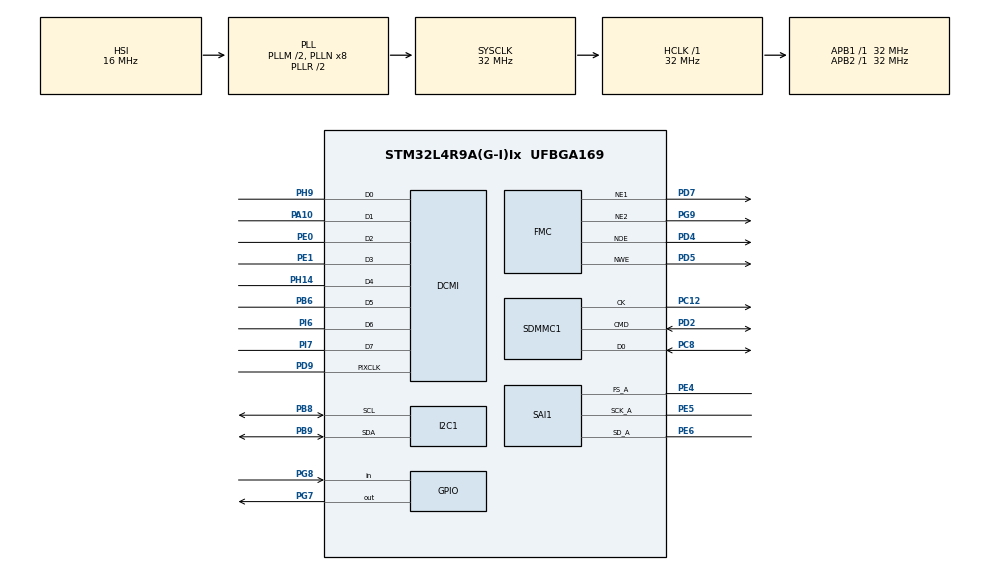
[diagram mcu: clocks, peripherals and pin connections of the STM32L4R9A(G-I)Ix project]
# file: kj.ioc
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DCMI.JPEGMode=DCMI_JPEG_DISABLE
DSIHOST_CKN.Mode=DSIHost_Adapted
DSIHOST_CKN.Signal=DSIHOST_CKN
DSIHOST_CKP.Mode=DSIHost_Adapted
DSIHOST_CKP.Signal=DSIHOST_CKP
DSIHOST_D0N.Mode=DSIHost_Adapted
DSIHOST_D0N.Signal=DSIHOST_D0N
DSIHOST_D0P.Mode=DSIHost_Adapted
DSIHOST_D0P.Signal=DSIHOST_D0P
DSIHOST_D1N.Mode=DSIHost_Adapted
DSIHOST_D1N.Signal=DSIHOST_D1N
DSIHOST_D1P.Mode=DSIHost_Adapted
DSIHOST_D1P.Signal=DSIHOST_D1P
I2C1.Timing=0x00707CBB
LTDC.ActiveH=390
LTDC.ActiveW=390
LTDC.Blue=128
LTDC.Green=128
LTDC.Red=128
Mcu.Family=STM32L4
Mcu.Name=STM32L4R9A(G-I)Ix
Mcu.Package=UFBGA169
NVIC.PriorityGroup=NVIC_PRIORITYGROUP_4
PA10.Mode=Slave_8_bits_Embedded_Synchro
PA10.Signal=DCMI_D1
PB6.Mode=Slave_8_bits_Embedded_Synchro
PB6.Signal=DCMI_D5
PB8.Mode=I2C
PB8.Signal=I2C1_SCL
PB9.Mode=I2C
PB9.Signal=I2C1_SDA
PC12.Mode=SD_1_bit
PC12.Signal=SDMMC1_CK
PC8.Mode=SD_1_bit
PC8.Signal=SDMMC1_D0
PD2.Mode=SD_1_bit
PD2.Signal=SDMMC1_CMD
PD4.Signal=FMC_NOE
PD5.Signal=FMC_NWE
PD7.Mode=NorPsramChipSelect1_1
PD7.Signal=FMC_NE1
PD9.Mode=Slave_8_bits_Embedded_Synchro
PD9.Signal=DCMI_PIXCLK
PE0.Mode=Slave_8_bits_Embedded_Synchro
PE0.Signal=DCMI_D2
PE1.Mode=Slave_8_bits_Embedded_Synchro
PE1.Signal=DCMI_D3
PE4.Mode=SAI_A_Master
PE4.Signal=SAI1_FS_A
PE5.Mode=SAI_A_Master
PE5.Signal=SAI1_SCK_A
PE6.Mode=SAI_A_Master
PE6.Signal=SAI1_SD_A
PG7.Signal=GPIO_Output
PG8.Signal=GPIO_Input
PG9.Mode=NorPsramChipSelect2_4
PG9.Signal=FMC_NE2
PH0-OSC_IN\ (PH0).Mode=HSE-External-Oscillator
PH0-OSC_IN\ (PH0).Signal=RCC_OSC_IN
PH1-OSC_OUT\ (PH1).Mode=HSE-External-Oscillator
PH1-OSC_OUT\ (PH1).Signal=RCC_OSC_OUT
PH14.Mode=Slave_8_bits_Embedded_Synchro
PH14.Signal=DCMI_D4
PH9.Mode=Slave_8_bits_Embedded_Synchro
PH9.Signal=DCMI_D0
PI6.Mode=Slave_8_bits_Embedded_Synchro
PI6.Signal=DCMI_D6
PI7.Mode=Slave_8_bits_Embedded_Synchro
PI7.Signal=DCMI_D7
ProjectManager.HeapSize=0x200
ProjectManager.StackSize=0x400
ProjectManager.TargetToolchain=EWARM V8
RCC.ADCFreq_Value=96000000
RCC.AHBFreq_Value=32000000
RCC.APB1Freq_Value=32000000
RCC.APB1TimFreq_Value=32000000
RCC.APB2Freq_Value=32000000
RCC.APB2TimFreq_Value=32000000
RCC.CortexFreq_Value=32000000
RCC.HCLKFreq_Value=32000000
RCC.HSE_VALUE=8000000
RCC.HSI48_VALUE=48000000
RCC.HSI_VALUE=16000000
RCC.LSE_VALUE=32768
RCC.MSI_VALUE=4000000
RCC.PLLDSINDIV=32
RCC.PLLDSIODF=DSI_PLL_OUT_DIV2
RCC.PLLM1=2
RCC.PLLM2=2
RCC.PLLM3=2
RCC.PLLSAI1N=24
RCC.PLLSAI1P=RCC_PLLP_DIV4
RCC.PLLSourceVirtual=RCC_PLLSOURCE_HSI
RCC.SYSCLKFreq_VALUE=32000000
RCC.SYSCLKSource=RCC_SYSCLKSOURCE_PLLCLK
RCC.USBFreq_Value=96000000
RCC.VCOOutputFreq_Value=64000000
SAI1.ErrorAudioFreq-SAI_A_Master=-2.34 %
SAI1.Instance-SAI_A_Master=SAI$Index_Block_A
SAI1.MClockEnable-SAI_A_Master=SAI_MASTERCLOCK_DISABLE
SAI1.RealAudioFreq-SAI_A_Master=187.5 KHz
SAI1.VirtualMode-SAI_A_Master=VM_MASTER
SH.FMC_NOE.0=FMC_NOE,Psram4
SH.FMC_NWE.0=FMC_NWE,Psram4
VP_DFSDM1_VS_IN0.Mode=Parallel_Input_ch0
VP_DMA2D_VS_DMA2D.Mode=DMA2D_Activate
VP_GFXMMU_VS_GFXMMU.Mode=GFXMMU_Activate
VP_LTDC_DSIMode.Mode=RGB888
VP_OCTOSPI1_VS_dual.Mode=single_mode
VP_RTC_VS_RTC_Activate.Mode=RTC_Enabled
board=32L4R9IDISCOVERY

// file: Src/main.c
/* USER CODE BEGIN Header */
/**
  ******************************************************************************
  * @file           : main.c
  * @brief          : Main program body
  ******************************************************************************
  * @attention
  *
  * <h2><center>&copy; Copyright (c) 2019 STMicroelectronics.
  * All rights reserved.</center></h2>
  *
  * This software component is licensed by ST under BSD 3-Clause license,
  * the "License"; You may not use this file except in compliance with the
  * License. You may obtain a copy of the License at:
  *                        opensource.org/licenses/BSD-3-Clause
  *
  ******************************************************************************
  */
/* USER CODE END Header */

#include "main.h"
#include "gfxmmu_lut.h"

DCMI_HandleTypeDef hdcmi;

DFSDM_Channel_HandleTypeDef hdfsdm1_channel0;

DMA2D_HandleTypeDef hdma2d;

DSI_HandleTypeDef hdsi;

GFXMMU_HandleTypeDef hgfxmmu;

I2C_HandleTypeDef hi2c1;

LTDC_HandleTypeDef hltdc;

OSPI_HandleTypeDef hospi1;

RTC_HandleTypeDef hrtc;

SAI_HandleTypeDef hsai_BlockA1;

SD_HandleTypeDef hsd1;

SRAM_HandleTypeDef hsram4;

void SystemClock_Config(void);
static void MX_GPIO_Init(void);
static void MX_LTDC_Init(void);
static void MX_RTC_Init(void);
static void MX_DSIHOST_DSI_Init(void);
static void MX_I2C1_Init(void);
static void MX_SDMMC1_SD_Init(void);
static void MX_OCTOSPI1_Init(void);
static void MX_DCMI_Init(void);
static void MX_DFSDM1_Init(void);
static void MX_FMC_Init(void);
static void MX_DMA2D_Init(void);
static void MX_GFXMMU_Init(void);
static void MX_SAI1_Init(void);
/* USER CODE BEGIN PFP */
#define GFXMMU_LCD_SIZE 390
uint8_t image[4*390*390];
static void myMX_LTDC_Init(void);
/* USER CODE END PFP */

int main(void)
{

  /* MCU Configuration--------------------------------------------------------*/

  /* Reset of all peripherals, Initializes the Flash interface and the Systick. */
  HAL_Init();

  /* Configure the system clock */
  SystemClock_Config();

  /* Initialize all configured peripherals */
  MX_GPIO_Init();
  MX_LTDC_Init();
  MX_RTC_Init();
  MX_DSIHOST_DSI_Init();
  MX_I2C1_Init();
  MX_SDMMC1_SD_Init();
  MX_OCTOSPI1_Init();
  MX_DCMI_Init();
  MX_DFSDM1_Init();
  MX_FMC_Init();
  MX_DMA2D_Init();
  MX_GFXMMU_Init();
  MX_SAI1_Init();

  /* Infinite loop */
  while (1)
  {

  }
}

void SystemClock_Config(void)
{
  RCC_OscInitTypeDef RCC_OscInitStruct = {0};
  RCC_ClkInitTypeDef RCC_ClkInitStruct = {0};
  RCC_PeriphCLKInitTypeDef PeriphClkInit = {0};

  /** Configure the main internal regulator output voltage
  */
  if (HAL_PWREx_ControlVoltageScaling(PWR_REGULATOR_VOLTAGE_SCALE1) != HAL_OK)
  {
    Error_Handler();
  }
  /** Initializes the CPU, AHB and APB busses clocks
  */
  RCC_OscInitStruct.OscillatorType = RCC_OSCILLATORTYPE_HSI|RCC_OSCILLATORTYPE_LSI
                              |RCC_OSCILLATORTYPE_HSE;
  RCC_OscInitStruct.HSEState = RCC_HSE_ON;
  RCC_OscInitStruct.HSIState = RCC_HSI_ON;
  RCC_OscInitStruct.HSICalibrationValue = RCC_HSICALIBRATION_DEFAULT;
  RCC_OscInitStruct.LSIState = RCC_LSI_ON;
  RCC_OscInitStruct.PLL.PLLState = RCC_PLL_ON;
  RCC_OscInitStruct.PLL.PLLSource = RCC_PLLSOURCE_HSI;
  RCC_OscInitStruct.PLL.PLLM = 2;
  RCC_OscInitStruct.PLL.PLLN = 8;
  RCC_OscInitStruct.PLL.PLLP = RCC_PLLP_DIV2;
  RCC_OscInitStruct.PLL.PLLQ = RCC_PLLQ_DIV2;
  RCC_OscInitStruct.PLL.PLLR = RCC_PLLR_DIV2;
  if (HAL_RCC_OscConfig(&RCC_OscInitStruct) != HAL_OK)
  {
    Error_Handler();
  }
  /** Initializes the CPU, AHB and APB busses clocks
  */
  RCC_ClkInitStruct.ClockType = RCC_CLOCKTYPE_HCLK|RCC_CLOCKTYPE_SYSCLK
                              |RCC_CLOCKTYPE_PCLK1|RCC_CLOCKTYPE_PCLK2;
  RCC_ClkInitStruct.SYSCLKSource = RCC_SYSCLKSOURCE_PLLCLK;
  RCC_ClkInitStruct.AHBCLKDivider = RCC_SYSCLK_DIV1;
  RCC_ClkInitStruct.APB1CLKDivider = RCC_HCLK_DIV1;
  RCC_ClkInitStruct.APB2CLKDivider = RCC_HCLK_DIV1;

  if (HAL_RCC_ClockConfig(&RCC_ClkInitStruct, FLASH_LATENCY_1) != HAL_OK)
  {
    Error_Handler();
  }
  PeriphClkInit.PeriphClockSelection = RCC_PERIPHCLK_RTC|RCC_PERIPHCLK_SAI1
                              |RCC_PERIPHCLK_I2C1|RCC_PERIPHCLK_DFSDM1
                              |RCC_PERIPHCLK_SDMMC1|RCC_PERIPHCLK_OSPI
                              |RCC_PERIPHCLK_DSI|RCC_PERIPHCLK_LTDC;
  PeriphClkInit.I2c1ClockSelection = RCC_I2C1CLKSOURCE_PCLK1;
  PeriphClkInit.Sai1ClockSelection = RCC_SAI1CLKSOURCE_PLLSAI1;
  PeriphClkInit.Dfsdm1ClockSelection = RCC_DFSDM1CLKSOURCE_PCLK;
  PeriphClkInit.DsiClockSelection = RCC_DSICLKSOURCE_DSIPHY;
  PeriphClkInit.OspiClockSelection = RCC_OSPICLKSOURCE_SYSCLK;
  PeriphClkInit.RTCClockSelection = RCC_RTCCLKSOURCE_LSI;
  PeriphClkInit.Sdmmc1ClockSelection = RCC_SDMMC1CLKSOURCE_PLLP;
  PeriphClkInit.LtdcClockSelection = RCC_LTDCCLKSOURCE_PLLSAI2_DIV2;
  PeriphClkInit.PLLSAI2.PLLSAI2Source = RCC_PLLSOURCE_HSI;
  PeriphClkInit.PLLSAI2.PLLSAI2M = 2;
  PeriphClkInit.PLLSAI2.PLLSAI2N = 8;
  PeriphClkInit.PLLSAI2.PLLSAI2P = RCC_PLLP_DIV2;
  PeriphClkInit.PLLSAI2.PLLSAI2R = RCC_PLLR_DIV2;
  PeriphClkInit.PLLSAI2.PLLSAI2Q = RCC_PLLQ_DIV2;
  PeriphClkInit.PLLSAI2.PLLSAI2ClockOut = RCC_PLLSAI2_LTDCCLK;
  PeriphClkInit.PLLSAI1.PLLSAI1Source = RCC_PLLSOURCE_HSI;
  PeriphClkInit.PLLSAI1.PLLSAI1M = 2;
  PeriphClkInit.PLLSAI1.PLLSAI1N = 24;
  PeriphClkInit.PLLSAI1.PLLSAI1P = RCC_PLLP_DIV4;
  PeriphClkInit.PLLSAI1.PLLSAI1Q = RCC_PLLQ_DIV2;
  PeriphClkInit.PLLSAI1.PLLSAI1R = RCC_PLLR_DIV2;
  PeriphClkInit.PLLSAI1.PLLSAI1ClockOut = RCC_PLLSAI1_SAI1CLK;
  if (HAL_RCCEx_PeriphCLKConfig(&PeriphClkInit) != HAL_OK)
  {
    Error_Handler();
  }
}

static void MX_DCMI_Init(void)
{

  hdcmi.Instance = DCMI;
  hdcmi.Init.SynchroMode = DCMI_SYNCHRO_EMBEDDED;
  hdcmi.Init.PCKPolarity = DCMI_PCKPOLARITY_FALLING;
  hdcmi.Init.CaptureRate = DCMI_CR_ALL_FRAME;
  hdcmi.Init.ExtendedDataMode = DCMI_EXTEND_DATA_8B;
  hdcmi.Init.SynchroCode.FrameEndCode = 0;
  hdcmi.Init.SynchroCode.FrameStartCode = 0;
  hdcmi.Init.SynchroCode.LineStartCode = 0;
  hdcmi.Init.SynchroCode.LineEndCode = 0;
  hdcmi.Init.JPEGMode = DCMI_JPEG_DISABLE;
  hdcmi.Init.ByteSelectMode = DCMI_BSM_ALL;
  hdcmi.Init.ByteSelectStart = DCMI_OEBS_ODD;
  hdcmi.Init.LineSelectMode = DCMI_LSM_ALL;
  hdcmi.Init.LineSelectStart = DCMI_OELS_ODD;
  if (HAL_DCMI_Init(&hdcmi) != HAL_OK)
  {
    Error_Handler();
  }

}

static void MX_DFSDM1_Init(void)
{

  hdfsdm1_channel0.Instance = DFSDM1_Channel0;
  hdfsdm1_channel0.Init.OutputClock.Activation = DISABLE;
  hdfsdm1_channel0.Init.OutputClock.Selection = DFSDM_CHANNEL_OUTPUT_CLOCK_SYSTEM;
  hdfsdm1_channel0.Init.OutputClock.Divider = 2;
  hdfsdm1_channel0.Init.Input.Multiplexer = DFSDM_CHANNEL_INTERNAL_REGISTER;
  hdfsdm1_channel0.Init.Input.DataPacking = DFSDM_CHANNEL_STANDARD_MODE;
  hdfsdm1_channel0.Init.Input.Pins = DFSDM_CHANNEL_SAME_CHANNEL_PINS;
  hdfsdm1_channel0.Init.SerialInterface.Type = DFSDM_CHANNEL_SPI_RISING;
  hdfsdm1_channel0.Init.SerialInterface.SpiClock = DFSDM_CHANNEL_SPI_CLOCK_EXTERNAL;
  hdfsdm1_channel0.Init.Awd.FilterOrder = DFSDM_CHANNEL_FASTSINC_ORDER;
  hdfsdm1_channel0.Init.Awd.Oversampling = 1;
  hdfsdm1_channel0.Init.Offset = 0x00;
  hdfsdm1_channel0.Init.RightBitShift = 0x00;
  if (HAL_DFSDM_ChannelInit(&hdfsdm1_channel0) != HAL_OK)
  {
    Error_Handler();
  }

}

static void MX_DMA2D_Init(void)
{

  hdma2d.Instance = DMA2D;
  hdma2d.Init.Mode = DMA2D_M2M;
  hdma2d.Init.ColorMode = DMA2D_OUTPUT_ARGB8888;
  hdma2d.Init.OutputOffset = 0;
  hdma2d.Init.BytesSwap = DMA2D_BYTES_REGULAR;
  hdma2d.Init.LineOffsetMode = DMA2D_LOM_PIXELS;
  hdma2d.LayerCfg[1].InputOffset = 0;
  hdma2d.LayerCfg[1].InputColorMode = DMA2D_INPUT_ARGB8888;
  hdma2d.LayerCfg[1].AlphaMode = DMA2D_NO_MODIF_ALPHA;
  hdma2d.LayerCfg[1].InputAlpha = 0;
  hdma2d.LayerCfg[1].AlphaInverted = DMA2D_REGULAR_ALPHA;
  hdma2d.LayerCfg[1].RedBlueSwap = DMA2D_RB_REGULAR;
  if (HAL_DMA2D_Init(&hdma2d) != HAL_OK)
  {
    Error_Handler();
  }
  if (HAL_DMA2D_ConfigLayer(&hdma2d, 1) != HAL_OK)
  {
    Error_Handler();
  }

}

static void MX_DSIHOST_DSI_Init(void)
{

  DSI_PLLInitTypeDef PLLInit = {0};
  DSI_HOST_TimeoutTypeDef HostTimeouts = {0};
  DSI_PHY_TimerTypeDef PhyTimings = {0};
  DSI_LPCmdTypeDef LPCmd = {0};
  DSI_CmdCfgTypeDef CmdCfg = {0};

  hdsi.Instance = DSI;
  hdsi.Init.AutomaticClockLaneControl = DSI_AUTO_CLK_LANE_CTRL_DISABLE;
  hdsi.Init.TXEscapeCkdiv = 4;
  hdsi.Init.NumberOfLanes = DSI_ONE_DATA_LANE;
  PLLInit.PLLNDIV = 32;
  PLLInit.PLLIDF = DSI_PLL_IN_DIV1;
  PLLInit.PLLODF = DSI_PLL_OUT_DIV2;
  if (HAL_DSI_Init(&hdsi, &PLLInit) != HAL_OK)
  {
    Error_Handler();
  }
  HostTimeouts.TimeoutCkdiv = 1;
  HostTimeouts.HighSpeedTransmissionTimeout = 0;
  HostTimeouts.LowPowerReceptionTimeout = 0;
  HostTimeouts.HighSpeedReadTimeout = 0;
  HostTimeouts.LowPowerReadTimeout = 0;
  HostTimeouts.HighSpeedWriteTimeout = 0;
  HostTimeouts.HighSpeedWritePrespMode = DSI_HS_PM_DISABLE;
  HostTimeouts.LowPowerWriteTimeout = 0;
  HostTimeouts.BTATimeout = 0;
  if (HAL_DSI_ConfigHostTimeouts(&hdsi, &HostTimeouts) != HAL_OK)
  {
    Error_Handler();
  }
  PhyTimings.ClockLaneHS2LPTime = 16;
  PhyTimings.ClockLaneLP2HSTime = 10;
  PhyTimings.DataLaneHS2LPTime = 8;
  PhyTimings.DataLaneLP2HSTime = 6;
  PhyTimings.DataLaneMaxReadTime = 0;
  PhyTimings.StopWaitTime = 0;
  if (HAL_DSI_ConfigPhyTimer(&hdsi, &PhyTimings) != HAL_OK)
  {
    Error_Handler();
  }
  if (HAL_DSI_ConfigFlowControl(&hdsi, DSI_FLOW_CONTROL_BTA) != HAL_OK)
  {
    Error_Handler();
  }
  if (HAL_DSI_SetLowPowerRXFilter(&hdsi, 10000) != HAL_OK)
  {
    Error_Handler();
  }
  if (HAL_DSI_ConfigErrorMonitor(&hdsi, HAL_DSI_ERROR_NONE) != HAL_OK)
  {
    Error_Handler();
  }
  LPCmd.LPGenShortWriteNoP = DSI_LP_GSW0P_DISABLE;
  LPCmd.LPGenShortWriteOneP = DSI_LP_GSW1P_DISABLE;
  LPCmd.LPGenShortWriteTwoP = DSI_LP_GSW2P_DISABLE;
  LPCmd.LPGenShortReadNoP = DSI_LP_GSR0P_DISABLE;
  LPCmd.LPGenShortReadOneP = DSI_LP_GSR1P_DISABLE;
  LPCmd.LPGenShortReadTwoP = DSI_LP_GSR2P_DISABLE;
  LPCmd.LPGenLongWrite = DSI_LP_GLW_DISABLE;
  LPCmd.LPDcsShortWriteNoP = DSI_LP_DSW0P_DISABLE;
  LPCmd.LPDcsShortWriteOneP = DSI_LP_DSW1P_DISABLE;
  LPCmd.LPDcsShortReadNoP = DSI_LP_DSR0P_DISABLE;
  LPCmd.LPDcsLongWrite = DSI_LP_DLW_DISABLE;
  LPCmd.LPMaxReadPacket = DSI_LP_MRDP_DISABLE;
  LPCmd.AcknowledgeRequest = DSI_ACKNOWLEDGE_DISABLE;
  if (HAL_DSI_ConfigCommand(&hdsi, &LPCmd) != HAL_OK)
  {
    Error_Handler();
  }
  CmdCfg.VirtualChannelID = 0;
  CmdCfg.ColorCoding = DSI_RGB888;
  CmdCfg.CommandSize = 390;
  CmdCfg.TearingEffectSource = DSI_TE_DSILINK;
  CmdCfg.TearingEffectPolarity = DSI_TE_RISING_EDGE;
  CmdCfg.HSPolarity = DSI_HSYNC_ACTIVE_LOW;
  CmdCfg.VSPolarity = DSI_VSYNC_ACTIVE_LOW;
  CmdCfg.DEPolarity = DSI_DATA_ENABLE_ACTIVE_HIGH;
  CmdCfg.VSyncPol = DSI_VSYNC_FALLING;
  CmdCfg.AutomaticRefresh = DSI_AR_ENABLE;
  CmdCfg.TEAcknowledgeRequest = DSI_TE_ACKNOWLEDGE_DISABLE;
  if (HAL_DSI_ConfigAdaptedCommandMode(&hdsi, &CmdCfg) != HAL_OK)
  {
    Error_Handler();
  }
  if (HAL_DSI_SetGenericVCID(&hdsi, 0) != HAL_OK)
  {
    Error_Handler();
  }

}

static void MX_GFXMMU_Init(void)
{

  hgfxmmu.Instance = GFXMMU;
  hgfxmmu.Init.BlocksPerLine = GFXMMU_192BLOCKS;
  hgfxmmu.Init.DefaultValue = 0;
  hgfxmmu.Init.Buffers.Buf0Address = 0;
  hgfxmmu.Init.Buffers.Buf1Address = 0;
  hgfxmmu.Init.Buffers.Buf2Address = 0;
  hgfxmmu.Init.Buffers.Buf3Address = 0;
  hgfxmmu.Init.Interrupts.Activation = ENABLE;
  if (HAL_GFXMMU_Init(&hgfxmmu) != HAL_OK)
  {
    Error_Handler();
  }
  if (HAL_GFXMMU_ConfigLut(&hgfxmmu, GFXMMU_LUT_FIRST, GFXMMU_LUT_SIZE, (uint32_t)gfxmmu_lut_config) != HAL_OK)
  {
    Error_Handler();
  }

}

static void MX_I2C1_Init(void)
{

  hi2c1.Instance = I2C1;
  hi2c1.Init.Timing = 0x00707CBB;
  hi2c1.Init.OwnAddress1 = 0;
  hi2c1.Init.AddressingMode = I2C_ADDRESSINGMODE_7BIT;
  hi2c1.Init.DualAddressMode = I2C_DUALADDRESS_DISABLE;
  hi2c1.Init.OwnAddress2 = 0;
  hi2c1.Init.OwnAddress2Masks = I2C_OA2_NOMASK;
  hi2c1.Init.GeneralCallMode = I2C_GENERALCALL_DISABLE;
  hi2c1.Init.NoStretchMode = I2C_NOSTRETCH_DISABLE;
  if (HAL_I2C_Init(&hi2c1) != HAL_OK)
  {
    Error_Handler();
  }
  /** Configure Analogue filter
  */
  if (HAL_I2CEx_ConfigAnalogFilter(&hi2c1, I2C_ANALOGFILTER_ENABLE) != HAL_OK)
  {
    Error_Handler();
  }
  /** Configure Digital filter
  */
  if (HAL_I2CEx_ConfigDigitalFilter(&hi2c1, 0) != HAL_OK)
  {
    Error_Handler();
  }

}

static void MX_LTDC_Init(void)
{

  LTDC_LayerCfgTypeDef pLayerCfg = {0};
  LTDC_LayerCfgTypeDef pLayerCfg1 = {0};

  hltdc.Instance = LTDC;
  hltdc.Init.HSPolarity = LTDC_HSPOLARITY_AL;
  hltdc.Init.VSPolarity = LTDC_VSPOLARITY_AL;
  hltdc.Init.DEPolarity = LTDC_DEPOLARITY_AL;
  hltdc.Init.PCPolarity = LTDC_PCPOLARITY_IPC;
  hltdc.Init.HorizontalSync = 7;
  hltdc.Init.VerticalSync = 3;
  hltdc.Init.AccumulatedHBP = 14;
  hltdc.Init.AccumulatedVBP = 5;
  hltdc.Init.AccumulatedActiveW = 404;
  hltdc.Init.AccumulatedActiveH = 395;
  hltdc.Init.TotalWidth = 410;
  hltdc.Init.TotalHeigh = 397;
  hltdc.Init.Backcolor.Blue = 128;
  hltdc.Init.Backcolor.Green = 128;
  hltdc.Init.Backcolor.Red = 128;
  if (HAL_LTDC_Init(&hltdc) != HAL_OK)
  {
    Error_Handler();
  }
  pLayerCfg.WindowX0 = 0;
  pLayerCfg.WindowX1 = 0;
  pLayerCfg.WindowY0 = 0;
  pLayerCfg.WindowY1 = 0;
  pLayerCfg.PixelFormat = LTDC_PIXEL_FORMAT_ARGB8888;
  pLayerCfg.Alpha = 0;
  pLayerCfg.Alpha0 = 0;
  pLayerCfg.BlendingFactor1 = LTDC_BLENDING_FACTOR1_CA;
  pLayerCfg.BlendingFactor2 = LTDC_BLENDING_FACTOR2_CA;
  pLayerCfg.FBStartAdress = GFXMMU_VIRTUAL_BUFFER0_BASE;
  pLayerCfg.ImageWidth = 0;
  pLayerCfg.ImageHeight = 0;
  pLayerCfg.Backcolor.Blue = 0;
  pLayerCfg.Backcolor.Green = 0;
  pLayerCfg.Backcolor.Red = 0;
  if (HAL_LTDC_ConfigLayer(&hltdc, &pLayerCfg, 0) != HAL_OK)
  {
    Error_Handler();
  }
  pLayerCfg1.WindowX0 = 0;
  pLayerCfg1.WindowX1 = 0;
  pLayerCfg1.WindowY0 = 0;
  pLayerCfg1.WindowY1 = 0;
  pLayerCfg1.PixelFormat = LTDC_PIXEL_FORMAT_ARGB8888;
  pLayerCfg1.Alpha = 0;
  pLayerCfg1.Alpha0 = 0;
  pLayerCfg1.BlendingFactor1 = LTDC_BLENDING_FACTOR1_CA;
  pLayerCfg1.BlendingFactor2 = LTDC_BLENDING_FACTOR2_CA;
  pLayerCfg1.FBStartAdress = GFXMMU_VIRTUAL_BUFFER0_BASE;
  pLayerCfg1.ImageWidth = 0;
  pLayerCfg1.ImageHeight = 0;
  pLayerCfg1.Backcolor.Blue = 0;
  pLayerCfg1.Backcolor.Green = 0;
  pLayerCfg1.Backcolor.Red = 0;
  if (HAL_LTDC_ConfigLayer(&hltdc, &pLayerCfg1, 1) != HAL_OK)
  {
    Error_Handler();
  }
  if (HAL_LTDC_SetPitch(&hltdc, 768, 0) != HAL_OK)
  {
    Error_Handler();
  }
  if (HAL_LTDC_SetPitch(&hltdc, 768, 1) != HAL_OK)
  {
    Error_Handler();
  }

}

static void MX_OCTOSPI1_Init(void)
{

  OSPI_MemoryMappedTypeDef sMemMappedCfg = {0};

  /* OCTOSPI1 parameter configuration*/
  hospi1.Instance = OCTOSPI1;
  hospi1.Init.FifoThreshold = 1;
  hospi1.Init.DualQuad = HAL_OSPI_DUALQUAD_DISABLE;
  hospi1.Init.MemoryType = HAL_OSPI_MEMTYPE_MICRON;
  hospi1.Init.DeviceSize = 1;
  hospi1.Init.ChipSelectHighTime = 1;
  hospi1.Init.FreeRunningClock = HAL_OSPI_FREERUNCLK_DISABLE;
  hospi1.Init.ClockMode = HAL_OSPI_CLOCK_MODE_0;
  hospi1.Init.WrapSize = HAL_OSPI_WRAP_NOT_SUPPORTED;
  hospi1.Init.ClockPrescaler = 256;
  hospi1.Init.SampleShifting = HAL_OSPI_SAMPLE_SHIFTING_NONE;
  hospi1.Init.DelayHoldQuarterCycle = HAL_OSPI_DHQC_DISABLE;
  hospi1.Init.ChipSelectBoundary = 1;
  if (HAL_OSPI_Init(&hospi1) != HAL_OK)
  {
    Error_Handler();
  }
  sMemMappedCfg.TimeOutActivation = HAL_OSPI_TIMEOUT_COUNTER_DISABLE;
  sMemMappedCfg.TimeOutPeriod = 1;
  if (HAL_OSPI_MemoryMapped(&hospi1, &sMemMappedCfg) != HAL_OK)
  {
    Error_Handler();
  }

}

static void MX_RTC_Init(void)
{

  /** Initialize RTC Only
  */
  hrtc.Instance = RTC;
  hrtc.Init.HourFormat = RTC_HOURFORMAT_24;
  hrtc.Init.AsynchPrediv = 127;
  hrtc.Init.SynchPrediv = 255;
  hrtc.Init.OutPut = RTC_OUTPUT_DISABLE;
  hrtc.Init.OutPutRemap = RTC_OUTPUT_REMAP_NONE;
  hrtc.Init.OutPutPolarity = RTC_OUTPUT_POLARITY_HIGH;
  hrtc.Init.OutPutType = RTC_OUTPUT_TYPE_OPENDRAIN;
  if (HAL_RTC_Init(&hrtc) != HAL_OK)
  {
    Error_Handler();
  }

}

static void MX_SAI1_Init(void)
{

  hsai_BlockA1.Instance = SAI1_Block_A;
  hsai_BlockA1.Init.Protocol = SAI_FREE_PROTOCOL;
  hsai_BlockA1.Init.AudioMode = SAI_MODEMASTER_TX;
  hsai_BlockA1.Init.DataSize = SAI_DATASIZE_8;
  hsai_BlockA1.Init.FirstBit = SAI_FIRSTBIT_MSB;
  hsai_BlockA1.Init.ClockStrobing = SAI_CLOCKSTROBING_FALLINGEDGE;
  hsai_BlockA1.Init.Synchro = SAI_ASYNCHRONOUS;
  hsai_BlockA1.Init.OutputDrive = SAI_OUTPUTDRIVE_DISABLE;
  hsai_BlockA1.Init.NoDivider = SAI_MASTERDIVIDER_ENABLE;
  hsai_BlockA1.Init.MckOverSampling = SAI_MCK_OVERSAMPLING_DISABLE;
  hsai_BlockA1.Init.FIFOThreshold = SAI_FIFOTHRESHOLD_EMPTY;
  hsai_BlockA1.Init.AudioFrequency = SAI_AUDIO_FREQUENCY_192K;
  hsai_BlockA1.Init.SynchroExt = SAI_SYNCEXT_DISABLE;
  hsai_BlockA1.Init.MonoStereoMode = SAI_STEREOMODE;
  hsai_BlockA1.Init.CompandingMode = SAI_NOCOMPANDING;
  hsai_BlockA1.Init.TriState = SAI_OUTPUT_NOTRELEASED;
  hsai_BlockA1.Init.PdmInit.Activation = DISABLE;
  hsai_BlockA1.Init.PdmInit.MicPairsNbr = 0;
  hsai_BlockA1.Init.PdmInit.ClockEnable = SAI_PDM_CLOCK1_ENABLE;
  hsai_BlockA1.FrameInit.FrameLength = 8;
  hsai_BlockA1.FrameInit.ActiveFrameLength = 1;
  hsai_BlockA1.FrameInit.FSDefinition = SAI_FS_STARTFRAME;
  hsai_BlockA1.FrameInit.FSPolarity = SAI_FS_ACTIVE_LOW;
  hsai_BlockA1.FrameInit.FSOffset = SAI_FS_FIRSTBIT;
  hsai_BlockA1.SlotInit.FirstBitOffset = 0;
  hsai_BlockA1.SlotInit.SlotSize = SAI_SLOTSIZE_DATASIZE;
  hsai_BlockA1.SlotInit.SlotNumber = 1;
  hsai_BlockA1.SlotInit.SlotActive = 0x00000000;
  if (HAL_SAI_Init(&hsai_BlockA1) != HAL_OK)
  {
    Error_Handler();
  }

}

static void MX_SDMMC1_SD_Init(void)
{

  hsd1.Instance = SDMMC1;
  hsd1.Init.ClockEdge = SDMMC_CLOCK_EDGE_RISING;
  hsd1.Init.ClockPowerSave = SDMMC_CLOCK_POWER_SAVE_DISABLE;
  hsd1.Init.BusWide = SDMMC_BUS_WIDE_1B;
  hsd1.Init.HardwareFlowControl = SDMMC_HARDWARE_FLOW_CONTROL_DISABLE;
  hsd1.Init.ClockDiv = 0;
  hsd1.Init.Transceiver = SDMMC_TRANSCEIVER_DISABLE;
  if (HAL_SD_Init(&hsd1) != HAL_OK)
  {
    Error_Handler();
  }

}

/* FMC initialization function */
static void MX_FMC_Init(void)
{
  FMC_NORSRAM_TimingTypeDef Timing;

  /** Perform the SRAM4 memory initialization sequence
  */
  hsram4.Instance = FMC_NORSRAM_DEVICE;
  hsram4.Extended = FMC_NORSRAM_EXTENDED_DEVICE;
  /* hsram4.Init */
  hsram4.Init.NSBank = FMC_NORSRAM_BANK2;
  hsram4.Init.DataAddressMux = FMC_DATA_ADDRESS_MUX_DISABLE;
  hsram4.Init.MemoryType = FMC_MEMORY_TYPE_PSRAM;
  hsram4.Init.MemoryDataWidth = FMC_NORSRAM_MEM_BUS_WIDTH_16;
  hsram4.Init.BurstAccessMode = FMC_BURST_ACCESS_MODE_DISABLE;
  hsram4.Init.WaitSignalPolarity = FMC_WAIT_SIGNAL_POLARITY_LOW;
  hsram4.Init.WaitSignalActive = FMC_WAIT_TIMING_BEFORE_WS;
  hsram4.Init.WriteOperation = FMC_WRITE_OPERATION_DISABLE;
  hsram4.Init.WaitSignal = FMC_WAIT_SIGNAL_DISABLE;
  hsram4.Init.ExtendedMode = FMC_EXTENDED_MODE_DISABLE;
  hsram4.Init.AsynchronousWait = FMC_ASYNCHRONOUS_WAIT_DISABLE;
  hsram4.Init.WriteBurst = FMC_WRITE_BURST_DISABLE;
  hsram4.Init.ContinuousClock = FMC_CONTINUOUS_CLOCK_SYNC_ONLY;
  hsram4.Init.WriteFifo = FMC_WRITE_FIFO_ENABLE;
  hsram4.Init.NBLSetupTime = 0;
  hsram4.Init.PageSize = FMC_PAGE_SIZE_NONE;
  /* Timing */
  Timing.AddressSetupTime = 15;
  Timing.AddressHoldTime = 15;
  Timing.DataSetupTime = 255;
  Timing.DataHoldTime = 0;
  Timing.BusTurnAroundDuration = 15;
  Timing.CLKDivision = 16;
  Timing.DataLatency = 17;
  Timing.AccessMode = FMC_ACCESS_MODE_A;
  /* ExtTiming */

  if (HAL_SRAM_Init(&hsram4, &Timing, NULL) != HAL_OK)
  {
    Error_Handler( );
  }

}

static void MX_GPIO_Init(void)
{
  GPIO_InitTypeDef GPIO_InitStruct = {0};

  /* GPIO Ports Clock Enable */
  __HAL_RCC_GPIOE_CLK_ENABLE();
  __HAL_RCC_GPIOH_CLK_ENABLE();
  __HAL_RCC_GPIOI_CLK_ENABLE();
  __HAL_RCC_GPIOG_CLK_ENABLE();
  HAL_PWREx_EnableVddIO2();
  __HAL_RCC_GPIOB_CLK_ENABLE();
  __HAL_RCC_GPIOD_CLK_ENABLE();
  __HAL_RCC_GPIOA_CLK_ENABLE();
  __HAL_RCC_GPIOC_CLK_ENABLE();

  /*Configure GPIO pin Output Level */
  HAL_GPIO_WritePin(GPIOG, GPIO_PIN_7, GPIO_PIN_RESET);

  /*Configure GPIO pin : PG8 */
  GPIO_InitStruct.Pin = GPIO_PIN_8;
  GPIO_InitStruct.Mode = GPIO_MODE_INPUT;
  GPIO_InitStruct.Pull = GPIO_NOPULL;
  HAL_GPIO_Init(GPIOG, &GPIO_InitStruct);

  /*Configure GPIO pin : PG7 */
  GPIO_InitStruct.Pin = GPIO_PIN_7;
  GPIO_InitStruct.Mode = GPIO_MODE_OUTPUT_PP;
  GPIO_InitStruct.Pull = GPIO_NOPULL;
  GPIO_InitStruct.Speed = GPIO_SPEED_FREQ_LOW;
  HAL_GPIO_Init(GPIOG, &GPIO_InitStruct);

}

/* USER CODE BEGIN 4 */
DSI_HandleTypeDef                    hdsi;

typedef enum
{
   IO_MODE_INPUT = 0,   /* input floating */
   IO_MODE_OUTPUT,      /* output Push Pull */
   IO_MODE_IT_RISING_EDGE,   /* float input - irq detect on rising edge */
   IO_MODE_IT_FALLING_EDGE,  /* float input - irq detect on falling edge */
   IO_MODE_IT_LOW_LEVEL,     /* float input - irq detect on low level */
   IO_MODE_IT_HIGH_LEVEL,    /* float input - irq detect on high level */
   /* following modes only available on MFX*/
   IO_MODE_ANALOG,           /* analog mode */
   IO_MODE_OFF,              /* when pin isn't used*/
   IO_MODE_INPUT_PU,         /* input with internal pull up resistor */
   IO_MODE_INPUT_PD,         /* input with internal pull down resistor */
   IO_MODE_OUTPUT_OD,          /* Open Drain output without internal resistor */
   IO_MODE_OUTPUT_OD_PU,       /* Open Drain output with  internal pullup resistor */
   IO_MODE_OUTPUT_OD_PD,       /* Open Drain output with  internal pulldown resistor */
   IO_MODE_OUTPUT_PP,          /* PushPull output without internal resistor */
   IO_MODE_OUTPUT_PP_PU,       /* PushPull output with  internal pullup resistor */
   IO_MODE_OUTPUT_PP_PD,       /* PushPull output with  internal pulldown resistor */
   IO_MODE_IT_RISING_EDGE_PU,   /* push up resistor input - irq on rising edge  */
   IO_MODE_IT_RISING_EDGE_PD,   /* push dw resistor input - irq on rising edge  */
   IO_MODE_IT_FALLING_EDGE_PU,  /* push up resistor input - irq on falling edge */
   IO_MODE_IT_FALLING_EDGE_PD,  /* push dw resistor input - irq on falling edge */
   IO_MODE_IT_LOW_LEVEL_PU,     /* push up resistor input - irq detect on low level */
   IO_MODE_IT_LOW_LEVEL_PD,     /* push dw resistor input - irq detect on low level */
   IO_MODE_IT_HIGH_LEVEL_PU,    /* push up resistor input - irq detect on high level */
   IO_MODE_IT_HIGH_LEVEL_PD,    /* push dw resistor input - irq detect on high level */

}IO_ModeTypedef;

#define IO_PIN_0                  ((uint32_t)0x00000001)
#define IO_PIN_1                  ((uint32_t)0x00000002)
#define IO_PIN_2                  ((uint32_t)0x00000004)
#define IO_PIN_3                  ((uint32_t)0x00000008)
#define IO_PIN_4                  ((uint32_t)0x00000010)
#define IO_PIN_5                  ((uint32_t)0x00000020)
#define IO_PIN_6                  ((uint32_t)0x00000040)
#define IO_PIN_7                  ((uint32_t)0x00000080)
#define IO_PIN_8                  ((uint32_t)0x00000100)
#define IO_PIN_9                  ((uint32_t)0x00000200)
#define IO_PIN_10                 ((uint32_t)0x00000400)
#define IO_PIN_11                 ((uint32_t)0x00000800)
#define IO_PIN_12                 ((uint32_t)0x00001000)
#define IO_PIN_13                 ((uint32_t)0x00002000)
#define IO_PIN_14                 ((uint32_t)0x00004000)
#define IO_PIN_15                 ((uint32_t)0x00008000)
#define AGPIO_PIN_0               ((uint32_t)0x00010000)
#define AGPIO_PIN_1               ((uint32_t)0x00020000)
#define AGPIO_PIN_2               ((uint32_t)0x00040000)
#define IO_PIN_ALL                ((uint32_t)0x0003FFFF)

static void LCD_PowerOff(void)
{
    BSP_IO_Init();

    /* Activate DSI_RESET */
    BSP_IO_WritePin(IO_PIN_10, GPIO_PIN_RESET);

    /* Wait at least 5 ms */
    HAL_Delay(5);

    /* Set DSI_POWER_ON to analog mode only if psram is not currently used */
#if defined(USE_STM32L4R9I_DISCO_REVA) || defined(USE_STM32L4R9I_DISCO_REVB)
    BSP_IO_ConfigPin(IO_PIN_8, IO_MODE_ANALOG);
#else /* USE_STM32L4R9I_DISCO_REVA || USE_STM32L4R9I_DISCO_REVB */
    /* Disable first DSI_1V8_PWRON then DSI_3V3_PWRON */
    BSP_IO_ConfigPin(AGPIO_PIN_2, IO_MODE_ANALOG);
    BSP_IO_ConfigPin(IO_PIN_8, IO_MODE_ANALOG);
#endif /* USE_STM32L4R9I_DISCO_REVA || USE_STM32L4R9I_DISCO_REVB */
}

volatile int k = 0;

/**
  * @brief  LCD power on
  *         Power on LCD.
  */
static void LCD_PowerOn(void)
{
    BSP_IO_Init();

#if defined(USE_STM32L4R9I_DISCO_REVA) || defined(USE_STM32L4R9I_DISCO_REVB)
    /* Set DSI_POWER_ON to input floating to avoid I2C issue during input PD configuration */
    BSP_IO_ConfigPin(IO_PIN_8, IO_MODE_INPUT);

    /* Configure the GPIO connected to DSI_RESET signal */
    BSP_IO_ConfigPin(IO_PIN_10, IO_MODE_OUTPUT);

    /* Activate DSI_RESET (active low) */
    BSP_IO_WritePin(IO_PIN_10, GPIO_PIN_RESET);

    /* Configure the GPIO connected to DSI_POWER_ON signal as input pull down */
    /* to activate 3V3_LCD. VDD_LCD is also activated if VDD = 3,3V */
    BSP_IO_ConfigPin(IO_PIN_8, IO_MODE_INPUT_PD);

    /* Wait at least 1ms before enabling 1V8_LCD */
    HAL_Delay(1);

    /* Configure the GPIO connected to DSI_POWER_ON signal as output low */
    /* to activate 1V8_LCD. VDD_LCD is also activated if VDD = 1,8V */
    BSP_IO_WritePin(IO_PIN_8, GPIO_PIN_RESET);
    BSP_IO_ConfigPin(IO_PIN_8, IO_MODE_OUTPUT);
#else /* USE_STM32L4R9I_DISCO_REVA || USE_STM32L4R9I_DISCO_REVB */
    /* Configure the GPIO connected to DSI_3V3_POWERON signal as output low */
    /* to activate 3V3_LCD. VDD_LCD is also activated if VDD = 3,3V */
    BSP_IO_WritePin(IO_PIN_8, GPIO_PIN_SET);
    //HAL_Delay(1000);
    BSP_IO_ConfigPin(IO_PIN_8, IO_MODE_OUTPUT);
    //HAL_Delay(1000);
    BSP_IO_WritePin(IO_PIN_8, GPIO_PIN_RESET);

    /* Wait at least 1ms before enabling 1V8_LCD */
    HAL_Delay(1);

    /* Configure the GPIO connected to DSI_1V8_POWERON signal as output low */
    /* to activate 1V8_LCD. VDD_LCD is also activated if VDD = 1,8V */
    BSP_IO_WritePin(AGPIO_PIN_2, GPIO_PIN_SET);
    BSP_IO_ConfigPin(AGPIO_PIN_2, IO_MODE_OUTPUT);
    BSP_IO_WritePin(AGPIO_PIN_2, GPIO_PIN_RESET);
#endif /* USE_STM32L4R9I_DISCO_REVA || USE_STM32L4R9I_DISCO_REVB */

    /* Wait at least 15 ms (minimum reset low width is 10ms and add margin for 1V8_LCD ramp-up) */
    HAL_Delay(15);

#if defined(USE_STM32L4R9I_DISCO_REVA) || defined(USE_STM32L4R9I_DISCO_REVB)
    /* Desactivate DSI_RESET */
    BSP_IO_WritePin(IO_PIN_10, GPIO_PIN_SET);
#else /* USE_STM32L4R9I_DISCO_REVA || USE_STM32L4R9I_DISCO_REVB */
    /* Configure the GPIO connected to DSI_RESET signal */
    BSP_IO_ConfigPin(IO_PIN_10, IO_MODE_OUTPUT);

    /* Desactivate DSI_RESET */
    BSP_IO_WritePin(IO_PIN_10, GPIO_PIN_SET);
#endif /* USE_STM32L4R9I_DISCO_REVA || USE_STM32L4R9I_DISCO_REVB */

    /* Wait reset complete time (maximum time is 5ms when LCD in sleep mode and 120ms when LCD is not in sleep mode) */
    HAL_Delay(120);
}

static void myMX_LTDC_Init(void)
{

    uint8_t ScanLineParams[2];
    uint16_t scanline = (GFXMMU_LCD_SIZE - 10);

    DSI_PLLInitTypeDef      dsiPllInit;
    DSI_PHY_TimerTypeDef    PhyTimings;
    DSI_HOST_TimeoutTypeDef HostTimeouts;
    DSI_LPCmdTypeDef        LPCmd;
    DSI_CmdCfgTypeDef       CmdCfg;
    LTDC_LayerCfgTypeDef    LayerCfg;

    /* Power off then on on LCD */
    LCD_PowerOff();
    LCD_PowerOn();

  LTDC_LayerCfgTypeDef pLayerCfg = {0};
  LTDC_LayerCfgTypeDef pLayerCfg1 = {0};

  /* USER CODE BEGIN LTDC_Init 1 */

  /* USER CODE END LTDC_Init 1 */
  /* LTDC initialization */
     hltdc.Instance = LTDC;
     __HAL_LTDC_RESET_HANDLE_STATE(&hltdc);
     hltdc.Init.HSPolarity = LTDC_HSPOLARITY_AL;
     hltdc.Init.VSPolarity = LTDC_VSPOLARITY_AL;
     hltdc.Init.DEPolarity = LTDC_DEPOLARITY_AL;
     hltdc.Init.PCPolarity = LTDC_PCPOLARITY_IPC;
     hltdc.Init.HorizontalSync = 0;   /* HSYNC width - 1 */
     hltdc.Init.VerticalSync = 0;   /* VSYNC width - 1 */
     hltdc.Init.AccumulatedHBP = 1;   /* HSYNC width + HBP - 1 */
     hltdc.Init.AccumulatedVBP = 1;   /* VSYNC width + VBP - 1 */
     hltdc.Init.AccumulatedActiveW = GFXMMU_LCD_SIZE + 1; /* HSYNC width + HBP + Active width - 1 */
     hltdc.Init.AccumulatedActiveH = GFXMMU_LCD_SIZE + 1; /* VSYNC width + VBP + Active height - 1 */
     hltdc.Init.TotalWidth = GFXMMU_LCD_SIZE + 2; /* HSYNC width + HBP + Active width + HFP - 1 */
     hltdc.Init.TotalHeigh = GFXMMU_LCD_SIZE + 2; /* VSYNC width + VBP + Active height + VFP - 1 */
     hltdc.Init.Backcolor.Red = 0; /* NU default value */
     hltdc.Init.Backcolor.Green = 0; /* NU default value */
     hltdc.Init.Backcolor.Blue = 0; /* NU default value */
     hltdc.Init.Backcolor.Reserved = 0xFF;
     if (HAL_LTDC_Init(&hltdc) != HAL_OK)
     {
         Error_Handler();
     }

     /* LTDC layers configuration */
         pLayerCfg.WindowX0 = 0;
         pLayerCfg.WindowX1 = 0;
         pLayerCfg.WindowY0 = 0;
         pLayerCfg.WindowY1 = 0;
         pLayerCfg.PixelFormat = LTDC_PIXEL_FORMAT_ARGB8888;
         pLayerCfg.Alpha = 0xFF; /* NU default value */
         pLayerCfg.Alpha0 = 0; /* NU default value */
         pLayerCfg.BlendingFactor1 = LTDC_BLENDING_FACTOR1_PAxCA; /* NU default value */
         pLayerCfg.BlendingFactor2 = LTDC_BLENDING_FACTOR2_PAxCA; /* NU default value */
         pLayerCfg.FBStartAdress = (uint32_t)image;
         pLayerCfg.ImageWidth = 390; /* virtual frame buffer contains 768 pixels per line for 32bpp */
         pLayerCfg.ImageHeight = 390;
         pLayerCfg.Backcolor.Red = 0; /* NU default value */
         pLayerCfg.Backcolor.Green = 0; /* NU default value */
         pLayerCfg.Backcolor.Blue = 0; /* NU default value */
         pLayerCfg.Backcolor.Reserved = 0xFF;
         if (HAL_LTDC_ConfigLayer(&hltdc, &pLayerCfg, 0) != HAL_OK)
         {
             Error_Handler();
         }

         /*********************/
         /* DSI CONFIGURATION */
         /*********************/

         /* DSI initialization */
         hdsi.Instance = DSI;
         /* PATCH PNA */
         //  __HAL_DSI_RESET_HANDLE_STATE(&hdsi);
         hdsi.State = HAL_DSI_STATE_RESET;
         /* END PATCH PNA */
         hdsi.Init.AutomaticClockLaneControl = DSI_AUTO_CLK_LANE_CTRL_DISABLE;
         /* We have 1 data lane at 500Mbps => lane byte clock at 500/8 = 62,5 MHZ */
         /* We want TX escape clock at arround 20MHz and under 20MHz so clock division is set to 4 */
         hdsi.Init.TXEscapeCkdiv = 4;
         hdsi.Init.NumberOfLanes = DSI_ONE_DATA_LANE;
         /* We have HSE value at 16 Mhz and we want data lane at 500Mbps */
         dsiPllInit.PLLNDIV = 125;
         dsiPllInit.PLLIDF = DSI_PLL_IN_DIV4;
         dsiPllInit.PLLODF = DSI_PLL_OUT_DIV1;
         if (HAL_DSI_Init(&hdsi, &dsiPllInit) != HAL_OK)
         {
             Error_Handler();
         }

         PhyTimings.ClockLaneHS2LPTime = 33; /* Tclk-post + Tclk-trail + Ths-exit = [(60ns + 52xUI) + (60ns) + (300ns)]/16ns */
         PhyTimings.ClockLaneLP2HSTime = 30; /* Tlpx + (Tclk-prepare + Tclk-zero) + Tclk-pre = [150ns + 300ns + 8xUI]/16ns */
         PhyTimings.DataLaneHS2LPTime = 11; /* Ths-trail + Ths-exit = [(60ns + 4xUI) + 100ns]/16ns */
         PhyTimings.DataLaneLP2HSTime = 21; /* Tlpx + (Ths-prepare + Ths-zero) + Ths-sync = [150ns + (145ns + 10xUI) + 8xUI]/16ns */
         PhyTimings.DataLaneMaxReadTime = 0;
         PhyTimings.StopWaitTime = 7;
         if (HAL_DSI_ConfigPhyTimer(&hdsi, &PhyTimings) != HAL_OK)
         {
             Error_Handler();
         }

         HostTimeouts.TimeoutCkdiv = 1;
         HostTimeouts.HighSpeedTransmissionTimeout = 0;
         HostTimeouts.LowPowerReceptionTimeout = 0;
         HostTimeouts.HighSpeedReadTimeout = 0;
         HostTimeouts.LowPowerReadTimeout = 0;
         HostTimeouts.HighSpeedWriteTimeout = 0;
         HostTimeouts.HighSpeedWritePrespMode = 0;
         HostTimeouts.LowPowerWriteTimeout = 0;
         HostTimeouts.BTATimeout = 0;
         if (HAL_DSI_ConfigHostTimeouts(&hdsi, &HostTimeouts) != HAL_OK)
         {
             Error_Handler();
         }

         LPCmd.LPGenShortWriteNoP = DSI_LP_GSW0P_ENABLE;
         LPCmd.LPGenShortWriteOneP = DSI_LP_GSW1P_ENABLE;
         LPCmd.LPGenShortWriteTwoP = DSI_LP_GSW2P_ENABLE;
         LPCmd.LPGenShortReadNoP = DSI_LP_GSR0P_ENABLE;
         LPCmd.LPGenShortReadOneP = DSI_LP_GSR1P_ENABLE;
         LPCmd.LPGenShortReadTwoP = DSI_LP_GSR2P_ENABLE;
         LPCmd.LPGenLongWrite = DSI_LP_GLW_DISABLE;
         LPCmd.LPDcsShortWriteNoP = DSI_LP_DSW0P_ENABLE;
         LPCmd.LPDcsShortWriteOneP = DSI_LP_DSW1P_ENABLE;
         LPCmd.LPDcsShortReadNoP = DSI_LP_DSR0P_ENABLE;
         LPCmd.LPDcsLongWrite = DSI_LP_DLW_DISABLE;
         LPCmd.LPMaxReadPacket = DSI_LP_MRDP_DISABLE;
         LPCmd.AcknowledgeRequest = DSI_ACKNOWLEDGE_DISABLE;
         if (HAL_DSI_ConfigCommand(&hdsi, &LPCmd) != HAL_OK)
         {
             Error_Handler();
         }

         CmdCfg.VirtualChannelID = 0;
         CmdCfg.ColorCoding = DSI_RGB888;
         CmdCfg.CommandSize = GFXMMU_LCD_SIZE;
         CmdCfg.TearingEffectSource = DSI_TE_EXTERNAL;
         CmdCfg.HSPolarity = DSI_HSYNC_ACTIVE_HIGH;
         CmdCfg.VSPolarity = DSI_VSYNC_ACTIVE_HIGH;
         CmdCfg.AutomaticRefresh = DSI_AR_DISABLE;
         CmdCfg.TearingEffectPolarity = DSI_TE_FALLING_EDGE;
         CmdCfg.DEPolarity = DSI_DATA_ENABLE_ACTIVE_HIGH;
         CmdCfg.VSyncPol = DSI_VSYNC_FALLING;
         CmdCfg.TEAcknowledgeRequest = DSI_TE_ACKNOWLEDGE_ENABLE;
         if (HAL_DSI_ConfigAdaptedCommandMode(&hdsi, &CmdCfg) != HAL_OK)
         {
             Error_Handler();
         }

         //  /* Disable the Tearing Effect interrupt activated by default on previous function */
         //  __HAL_DSI_DISABLE_IT(&hdsi, DSI_IT_TE);

         if (HAL_DSI_ConfigFlowControl(&hdsi, DSI_FLOW_CONTROL_BTA) != HAL_OK)
         {
             Error_Handler();
         }

         /* Enable DSI */
         __HAL_DSI_ENABLE(&hdsi);

         /*************************/
         /* LCD POWER ON SEQUENCE */
         /*************************/
         /* Step 1 */
         /* Go to command 2 */
         HAL_DSI_ShortWrite(&hdsi, 0, DSI_DCS_SHORT_PKT_WRITE_P1, 0xFE, 0x01);
         /* IC Frame rate control, set power, sw mapping, mux swithc timing command */
         HAL_DSI_ShortWrite(&hdsi, 0, DSI_DCS_SHORT_PKT_WRITE_P1, 0x06, 0x62);
         HAL_DSI_ShortWrite(&hdsi, 0, DSI_DCS_SHORT_PKT_WRITE_P1, 0x0E, 0x80);
         HAL_DSI_ShortWrite(&hdsi, 0, DSI_DCS_SHORT_PKT_WRITE_P1, 0x0F, 0x80);
         HAL_DSI_ShortWrite(&hdsi, 0, DSI_DCS_SHORT_PKT_WRITE_P1, 0x10, 0x71);
         HAL_DSI_ShortWrite(&hdsi, 0, DSI_DCS_SHORT_PKT_WRITE_P1, 0x13, 0x81);
         HAL_DSI_ShortWrite(&hdsi, 0, DSI_DCS_SHORT_PKT_WRITE_P1, 0x14, 0x81);
         HAL_DSI_ShortWrite(&hdsi, 0, DSI_DCS_SHORT_PKT_WRITE_P1, 0x15, 0x82);
         HAL_DSI_ShortWrite(&hdsi, 0, DSI_DCS_SHORT_PKT_WRITE_P1, 0x16, 0x82);
         HAL_DSI_ShortWrite(&hdsi, 0, DSI_DCS_SHORT_PKT_WRITE_P1, 0x18, 0x88);
         HAL_DSI_ShortWrite(&hdsi, 0, DSI_DCS_SHORT_PKT_WRITE_P1, 0x19, 0x55);
         HAL_DSI_ShortWrite(&hdsi, 0, DSI_DCS_SHORT_PKT_WRITE_P1, 0x1A, 0x10);
         HAL_DSI_ShortWrite(&hdsi, 0, DSI_DCS_SHORT_PKT_WRITE_P1, 0x1C, 0x99);
         HAL_DSI_ShortWrite(&hdsi, 0, DSI_DCS_SHORT_PKT_WRITE_P1, 0x1D, 0x03);
         HAL_DSI_ShortWrite(&hdsi, 0, DSI_DCS_SHORT_PKT_WRITE_P1, 0x1E, 0x03);
         HAL_DSI_ShortWrite(&hdsi, 0, DSI_DCS_SHORT_PKT_WRITE_P1, 0x1F, 0x03);
         HAL_DSI_ShortWrite(&hdsi, 0, DSI_DCS_SHORT_PKT_WRITE_P1, 0x20, 0x03);
         HAL_DSI_ShortWrite(&hdsi, 0, DSI_DCS_SHORT_PKT_WRITE_P1, 0x25, 0x03);
         HAL_DSI_ShortWrite(&hdsi, 0, DSI_DCS_SHORT_PKT_WRITE_P1, 0x26, 0x8D);
         HAL_DSI_ShortWrite(&hdsi, 0, DSI_DCS_SHORT_PKT_WRITE_P1, 0x2A, 0x03);
         HAL_DSI_ShortWrite(&hdsi, 0, DSI_DCS_SHORT_PKT_WRITE_P1, 0x2B, 0x8D);
         HAL_DSI_ShortWrite(&hdsi, 0, DSI_DCS_SHORT_PKT_WRITE_P1, 0x36, 0x00);
         HAL_DSI_ShortWrite(&hdsi, 0, DSI_DCS_SHORT_PKT_WRITE_P1, 0x37, 0x10);
         HAL_DSI_ShortWrite(&hdsi, 0, DSI_DCS_SHORT_PKT_WRITE_P1, 0x3A, 0x00);
         HAL_DSI_ShortWrite(&hdsi, 0, DSI_DCS_SHORT_PKT_WRITE_P1, 0x3B, 0x00);
         HAL_DSI_ShortWrite(&hdsi, 0, DSI_DCS_SHORT_PKT_WRITE_P1, 0x3D, 0x20);
         HAL_DSI_ShortWrite(&hdsi, 0, DSI_DCS_SHORT_PKT_WRITE_P1, 0x3F, 0x3A);
         HAL_DSI_ShortWrite(&hdsi, 0, DSI_DCS_SHORT_PKT_WRITE_P1, 0x40, 0x30);
         HAL_DSI_ShortWrite(&hdsi, 0, DSI_DCS_SHORT_PKT_WRITE_P1, 0x41, 0x1A);
         HAL_DSI_ShortWrite(&hdsi, 0, DSI_DCS_SHORT_PKT_WRITE_P1, 0x42, 0x33);
         HAL_DSI_ShortWrite(&hdsi, 0, DSI_DCS_SHORT_PKT_WRITE_P1, 0x43, 0x22);
         HAL_DSI_ShortWrite(&hdsi, 0, DSI_DCS_SHORT_PKT_WRITE_P1, 0x44, 0x11);
         HAL_DSI_ShortWrite(&hdsi, 0, DSI_DCS_SHORT_PKT_WRITE_P1, 0x45, 0x66);
         HAL_DSI_ShortWrite(&hdsi, 0, DSI_DCS_SHORT_PKT_WRITE_P1, 0x46, 0x55);
         HAL_DSI_ShortWrite(&hdsi, 0, DSI_DCS_SHORT_PKT_WRITE_P1, 0x47, 0x44);
         HAL_DSI_ShortWrite(&hdsi, 0, DSI_DCS_SHORT_PKT_WRITE_P1, 0x4C, 0x33);
         HAL_DSI_ShortWrite(&hdsi, 0, DSI_DCS_SHORT_PKT_WRITE_P1, 0x4D, 0x22);
         HAL_DSI_ShortWrite(&hdsi, 0, DSI_DCS_SHORT_PKT_WRITE_P1, 0x4E, 0x11);
         HAL_DSI_ShortWrite(&hdsi, 0, DSI_DCS_SHORT_PKT_WRITE_P1, 0x4F, 0x66);
         HAL_DSI_ShortWrite(&hdsi, 0, DSI_DCS_SHORT_PKT_WRITE_P1, 0x50, 0x55);
         HAL_DSI_ShortWrite(&hdsi, 0, DSI_DCS_SHORT_PKT_WRITE_P1, 0x51, 0x44);
         HAL_DSI_ShortWrite(&hdsi, 0, DSI_DCS_SHORT_PKT_WRITE_P1, 0x57, 0x33);
         HAL_DSI_ShortWrite(&hdsi, 0, DSI_DCS_SHORT_PKT_WRITE_P1, 0x6B, 0x1B);
         HAL_DSI_ShortWrite(&hdsi, 0, DSI_DCS_SHORT_PKT_WRITE_P1, 0x70, 0x55);
         HAL_DSI_ShortWrite(&hdsi, 0, DSI_DCS_SHORT_PKT_WRITE_P1, 0x74, 0x0C);

         /* Go to command 3 */
         HAL_DSI_ShortWrite(&hdsi, 0, DSI_DCS_SHORT_PKT_WRITE_P1, 0xFE, 0x02);
         /* Set the VGMP/VGSP coltage control */
         HAL_DSI_ShortWrite(&hdsi, 0, DSI_DCS_SHORT_PKT_WRITE_P1, 0x9B, 0x40);
         HAL_DSI_ShortWrite(&hdsi, 0, DSI_DCS_SHORT_PKT_WRITE_P1, 0x9C, 0x00);
         HAL_DSI_ShortWrite(&hdsi, 0, DSI_DCS_SHORT_PKT_WRITE_P1, 0x9D, 0x20);

         /* Go to command 4 */
         HAL_DSI_ShortWrite(&hdsi, 0, DSI_DCS_SHORT_PKT_WRITE_P1, 0xFE, 0x03);
         /* Set the VGMP/VGSP coltage control */
         HAL_DSI_ShortWrite(&hdsi, 0, DSI_DCS_SHORT_PKT_WRITE_P1, 0x9B, 0x40);
         HAL_DSI_ShortWrite(&hdsi, 0, DSI_DCS_SHORT_PKT_WRITE_P1, 0x9C, 0x00);
         HAL_DSI_ShortWrite(&hdsi, 0, DSI_DCS_SHORT_PKT_WRITE_P1, 0x9D, 0x20);

         /* Go to command 5 */
         HAL_DSI_ShortWrite(&hdsi, 0, DSI_DCS_SHORT_PKT_WRITE_P1, 0xFE, 0x04);
         /* VSR command */
         HAL_DSI_ShortWrite(&hdsi, 0, DSI_DCS_SHORT_PKT_WRITE_P1, 0x5D, 0x10);
         /* VSR1 timing set */
         HAL_DSI_ShortWrite(&hdsi, 0, DSI_DCS_SHORT_PKT_WRITE_P1, 0x00, 0x8D);
         HAL_DSI_ShortWrite(&hdsi, 0, DSI_DCS_SHORT_PKT_WRITE_P1, 0x01, 0x00);
         HAL_DSI_ShortWrite(&hdsi, 0, DSI_DCS_SHORT_PKT_WRITE_P1, 0x02, 0x01);
         HAL_DSI_ShortWrite(&hdsi, 0, DSI_DCS_SHORT_PKT_WRITE_P1, 0x03, 0x01);
         HAL_DSI_ShortWrite(&hdsi, 0, DSI_DCS_SHORT_PKT_WRITE_P1, 0x04, 0x10);
         HAL_DSI_ShortWrite(&hdsi, 0, DSI_DCS_SHORT_PKT_WRITE_P1, 0x05, 0x01);
         HAL_DSI_ShortWrite(&hdsi, 0, DSI_DCS_SHORT_PKT_WRITE_P1, 0x06, 0xA7);
         HAL_DSI_ShortWrite(&hdsi, 0, DSI_DCS_SHORT_PKT_WRITE_P1, 0x07, 0x20);
         HAL_DSI_ShortWrite(&hdsi, 0, DSI_DCS_SHORT_PKT_WRITE_P1, 0x08, 0x00);
         /* VSR2 timing set */
         HAL_DSI_ShortWrite(&hdsi, 0, DSI_DCS_SHORT_PKT_WRITE_P1, 0x09, 0xC2);
         HAL_DSI_ShortWrite(&hdsi, 0, DSI_DCS_SHORT_PKT_WRITE_P1, 0x0A, 0x00);
         HAL_DSI_ShortWrite(&hdsi, 0, DSI_DCS_SHORT_PKT_WRITE_P1, 0x0B, 0x02);
         HAL_DSI_ShortWrite(&hdsi, 0, DSI_DCS_SHORT_PKT_WRITE_P1, 0x0C, 0x01);
         HAL_DSI_ShortWrite(&hdsi, 0, DSI_DCS_SHORT_PKT_WRITE_P1, 0x0D, 0x40);
         HAL_DSI_ShortWrite(&hdsi, 0, DSI_DCS_SHORT_PKT_WRITE_P1, 0x0E, 0x06);
         HAL_DSI_ShortWrite(&hdsi, 0, DSI_DCS_SHORT_PKT_WRITE_P1, 0x0F, 0x01);
         HAL_DSI_ShortWrite(&hdsi, 0, DSI_DCS_SHORT_PKT_WRITE_P1, 0x10, 0xA7);
         HAL_DSI_ShortWrite(&hdsi, 0, DSI_DCS_SHORT_PKT_WRITE_P1, 0x11, 0x00);
         /* VSR3 timing set */
         HAL_DSI_ShortWrite(&hdsi, 0, DSI_DCS_SHORT_PKT_WRITE_P1, 0x12, 0xC2);
         HAL_DSI_ShortWrite(&hdsi, 0, DSI_DCS_SHORT_PKT_WRITE_P1, 0x13, 0x00);
         HAL_DSI_ShortWrite(&hdsi, 0, DSI_DCS_SHORT_PKT_WRITE_P1, 0x14, 0x02);
         HAL_DSI_ShortWrite(&hdsi, 0, DSI_DCS_SHORT_PKT_WRITE_P1, 0x15, 0x01);
         HAL_DSI_ShortWrite(&hdsi, 0, DSI_DCS_SHORT_PKT_WRITE_P1, 0x16, 0x40);
         HAL_DSI_ShortWrite(&hdsi, 0, DSI_DCS_SHORT_PKT_WRITE_P1, 0x17, 0x07);
         HAL_DSI_ShortWrite(&hdsi, 0, DSI_DCS_SHORT_PKT_WRITE_P1, 0x18, 0x01);
         HAL_DSI_ShortWrite(&hdsi, 0, DSI_DCS_SHORT_PKT_WRITE_P1, 0x19, 0xA7);
         HAL_DSI_ShortWrite(&hdsi, 0, DSI_DCS_SHORT_PKT_WRITE_P1, 0x1A, 0x00);
         /* VSR4 timing set */
         HAL_DSI_ShortWrite(&hdsi, 0, DSI_DCS_SHORT_PKT_WRITE_P1, 0x1B, 0x82);
         HAL_DSI_ShortWrite(&hdsi, 0, DSI_DCS_SHORT_PKT_WRITE_P1, 0x1C, 0x00);
         HAL_DSI_ShortWrite(&hdsi, 0, DSI_DCS_SHORT_PKT_WRITE_P1, 0x1D, 0xFF);
         HAL_DSI_ShortWrite(&hdsi, 0, DSI_DCS_SHORT_PKT_WRITE_P1, 0x1E, 0x05);
         HAL_DSI_ShortWrite(&hdsi, 0, DSI_DCS_SHORT_PKT_WRITE_P1, 0x1F, 0x60);
         HAL_DSI_ShortWrite(&hdsi, 0, DSI_DCS_SHORT_PKT_WRITE_P1, 0x20, 0x02);
         HAL_DSI_ShortWrite(&hdsi, 0, DSI_DCS_SHORT_PKT_WRITE_P1, 0x21, 0x01);
         HAL_DSI_ShortWrite(&hdsi, 0, DSI_DCS_SHORT_PKT_WRITE_P1, 0x22, 0x7C);
         HAL_DSI_ShortWrite(&hdsi, 0, DSI_DCS_SHORT_PKT_WRITE_P1, 0x23, 0x00);
         /* VSR5 timing set */
         HAL_DSI_ShortWrite(&hdsi, 0, DSI_DCS_SHORT_PKT_WRITE_P1, 0x24, 0xC2);
         HAL_DSI_ShortWrite(&hdsi, 0, DSI_DCS_SHORT_PKT_WRITE_P1, 0x25, 0x00);
         HAL_DSI_ShortWrite(&hdsi, 0, DSI_DCS_SHORT_PKT_WRITE_P1, 0x26, 0x04);
         HAL_DSI_ShortWrite(&hdsi, 0, DSI_DCS_SHORT_PKT_WRITE_P1, 0x27, 0x02);
         HAL_DSI_ShortWrite(&hdsi, 0, DSI_DCS_SHORT_PKT_WRITE_P1, 0x28, 0x70);
         HAL_DSI_ShortWrite(&hdsi, 0, DSI_DCS_SHORT_PKT_WRITE_P1, 0x29, 0x05);
         HAL_DSI_ShortWrite(&hdsi, 0, DSI_DCS_SHORT_PKT_WRITE_P1, 0x2A, 0x74);
         HAL_DSI_ShortWrite(&hdsi, 0, DSI_DCS_SHORT_PKT_WRITE_P1, 0x2B, 0x8D);
         HAL_DSI_ShortWrite(&hdsi, 0, DSI_DCS_SHORT_PKT_WRITE_P1, 0x2D, 0x00);
         /* VSR6 timing set */
         HAL_DSI_ShortWrite(&hdsi, 0, DSI_DCS_SHORT_PKT_WRITE_P1, 0x2F, 0xC2);
         HAL_DSI_ShortWrite(&hdsi, 0, DSI_DCS_SHORT_PKT_WRITE_P1, 0x30, 0x00);
         HAL_DSI_ShortWrite(&hdsi, 0, DSI_DCS_SHORT_PKT_WRITE_P1, 0x31, 0x04);
         HAL_DSI_ShortWrite(&hdsi, 0, DSI_DCS_SHORT_PKT_WRITE_P1, 0x32, 0x02);
         HAL_DSI_ShortWrite(&hdsi, 0, DSI_DCS_SHORT_PKT_WRITE_P1, 0x33, 0x70);
         HAL_DSI_ShortWrite(&hdsi, 0, DSI_DCS_SHORT_PKT_WRITE_P1, 0x34, 0x07);
         HAL_DSI_ShortWrite(&hdsi, 0, DSI_DCS_SHORT_PKT_WRITE_P1, 0x35, 0x74);
         HAL_DSI_ShortWrite(&hdsi, 0, DSI_DCS_SHORT_PKT_WRITE_P1, 0x36, 0x8D);
         HAL_DSI_ShortWrite(&hdsi, 0, DSI_DCS_SHORT_PKT_WRITE_P1, 0x37, 0x00);
         /* VSR marping command */
         HAL_DSI_ShortWrite(&hdsi, 0, DSI_DCS_SHORT_PKT_WRITE_P1, 0x5E, 0x20);
         HAL_DSI_ShortWrite(&hdsi, 0, DSI_DCS_SHORT_PKT_WRITE_P1, 0x5F, 0x31);
         HAL_DSI_ShortWrite(&hdsi, 0, DSI_DCS_SHORT_PKT_WRITE_P1, 0x60, 0x54);
         HAL_DSI_ShortWrite(&hdsi, 0, DSI_DCS_SHORT_PKT_WRITE_P1, 0x61, 0x76);
         HAL_DSI_ShortWrite(&hdsi, 0, DSI_DCS_SHORT_PKT_WRITE_P1, 0x62, 0x98); /* �0x62� is suggested instead of �0x52� */

         /* Go to command 6 */
         HAL_DSI_ShortWrite(&hdsi, 0, DSI_DCS_SHORT_PKT_WRITE_P1, 0xFE, 0x05);
         /* Set the ELVSS voltage */
         HAL_DSI_ShortWrite(&hdsi, 0, DSI_DCS_SHORT_PKT_WRITE_P1, 0x05, 0x17); /* �0x17� is suggested instead of �0x07� for SM3321 */
         HAL_DSI_ShortWrite(&hdsi, 0, DSI_DCS_SHORT_PKT_WRITE_P1, 0x2A, 0x04);
         HAL_DSI_ShortWrite(&hdsi, 0, DSI_DCS_SHORT_PKT_WRITE_P1, 0x91, 0x00);

         /* Go back in standard commands */
         HAL_DSI_ShortWrite(&hdsi, 0, DSI_DCS_SHORT_PKT_WRITE_P1, 0xFE, 0x00);

         /* Set tear off */
         HAL_DSI_ShortWrite(&hdsi, 0, DSI_DCS_SHORT_PKT_WRITE_P1, DSI_SET_TEAR_OFF, 0x0);

         /* Set DSI mode to internal timing added vs ORIGINAL for Command mode */
         HAL_DSI_ShortWrite(&hdsi, 0, DSI_DCS_SHORT_PKT_WRITE_P1, 0xC2, 0x0);

         /* Set memory address MODIFIED vs ORIGINAL */
         uint8_t InitParam1[4] = { 0x00, 0x04, 0x01, 0x89 }; // MODIF OFe: adjusted w/ real image
         HAL_DSI_LongWrite(&hdsi, 0, DSI_DCS_LONG_PKT_WRITE, 4, DSI_SET_COLUMN_ADDRESS, InitParam1);
         uint8_t InitParam2[4] = { 0x00, 0x00, 0x01, 0x85 };
         HAL_DSI_LongWrite(&hdsi, 0, DSI_DCS_LONG_PKT_WRITE, 4, DSI_SET_PAGE_ADDRESS, InitParam2);

         /* Sleep out */
         HAL_DSI_ShortWrite(&hdsi, 0, DSI_DCS_SHORT_PKT_WRITE_P0, DSI_EXIT_SLEEP_MODE, 0x0);

         HAL_Delay(120);

         /* Set display on */
         if (HAL_DSI_ShortWrite(&hdsi,
                                0,
                                DSI_DCS_SHORT_PKT_WRITE_P0,
                                DSI_SET_DISPLAY_ON,
                                0x0) != HAL_OK)
         {
             Error_Handler();
         }

         /* Enable DSI Wrapper */
         __HAL_DSI_WRAPPER_ENABLE(&hdsi);

         ScanLineParams[0] = scanline >> 8;
         ScanLineParams[1] = scanline & 0x00FF;

         HAL_DSI_LongWrite(&hdsi, 0, DSI_DCS_LONG_PKT_WRITE, 2, DSI_SET_TEAR_SCANLINE, ScanLineParams);

}

/* USER CODE END 4 */

void Error_Handler(void)
{
}

/************************ (C) COPYRIGHT STMicroelectronics *****END OF FILE****/
